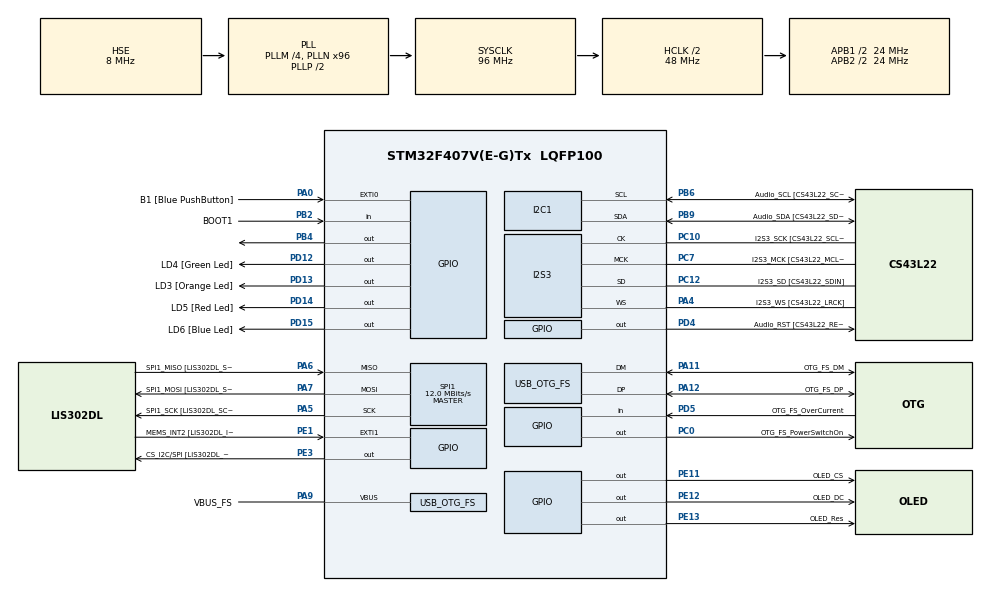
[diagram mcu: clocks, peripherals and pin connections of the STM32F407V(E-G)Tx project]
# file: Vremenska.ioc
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I2S3.AudioFreq=I2S_AUDIOFREQ_48K
I2S3.AudioFreq-Half_Duplex_Master=I2S_AUDIOFREQ_96K
I2S3.ErrorAudioFreq=1.72 %
I2S3.ErrorAudioFreq-Half_Duplex_Master=0.8 %
I2S3.FullDuplexMode=I2S_FULLDUPLEXMODE_DISABLE
I2S3.Instance=SPI$Index
I2S3.RealAudioFreq=48.828 KHz
I2S3.RealAudioFreq-Half_Duplex_Master=96.774 KHz
I2S3.VirtualMode=I2S_MODE_MASTER
Mcu.Family=STM32F4
Mcu.Name=STM32F407V(E-G)Tx
Mcu.Package=LQFP100
NVIC.OTG_FS_IRQn=true\:0\:0\:false\:false\:true\:true\:true\:true
NVIC.PriorityGroup=NVIC_PRIORITYGROUP_0
PA0-WKUP.GPIO_Label=B1 [Blue PushButton]
PA0-WKUP.GPIO_ModeDefaultEXTI=GPIO_MODE_EVT_RISING
PA0-WKUP.GPIO_PuPd=GPIO_NOPULL
PA0-WKUP.Signal=GPXTI0
PA10.GPIO_Label=OTG_FS_ID
PA10.GPIO_Mode=GPIO_MODE_AF_PP
PA10.GPIO_PuPd=GPIO_NOPULL
PA10.GPIO_Speed=GPIO_SPEED_FREQ_LOW
PA10.Signal=USB_OTG_FS_ID
PA11.GPIO_Label=OTG_FS_DM
PA11.GPIO_Mode=GPIO_MODE_AF_PP
PA11.GPIO_PuPd=GPIO_NOPULL
PA11.GPIO_Speed=GPIO_SPEED_FREQ_LOW
PA11.Mode=Device_Only
PA11.Signal=USB_OTG_FS_DM
PA12.GPIO_Label=OTG_FS_DP
PA12.GPIO_Mode=GPIO_MODE_AF_PP
PA12.GPIO_PuPd=GPIO_NOPULL
PA12.GPIO_Speed=GPIO_SPEED_FREQ_LOW
PA12.Mode=Device_Only
PA12.Signal=USB_OTG_FS_DP
PA13.GPIO_Label=SWDIO
PA13.Mode=Serial_Wire
PA13.Signal=SYS_JTMS-SWDIO
PA14.GPIO_Label=SWCLK
PA14.Mode=Serial_Wire
PA14.Signal=SYS_JTCK-SWCLK
PA4.GPIO_Label=I2S3_WS [CS43L22_LRCK]
PA4.GPIO_Mode=GPIO_MODE_AF_PP
PA4.GPIO_PuPd=GPIO_NOPULL
PA4.GPIO_Speed=GPIO_SPEED_FREQ_LOW
PA4.Mode=Half_Duplex_Master
PA4.Signal=I2S3_WS
PA5.GPIO_Label=SPI1_SCK [LIS302DL_SCL/SPC]
PA5.GPIO_Mode=GPIO_MODE_AF_PP
PA5.GPIO_PuPd=GPIO_NOPULL
PA5.GPIO_Speed=GPIO_SPEED_FREQ_LOW
PA5.Mode=Full_Duplex_Master
PA5.Signal=SPI1_SCK
PA6.GPIO_Label=SPI1_MISO [LIS302DL_SDO]
PA6.GPIO_Mode=GPIO_MODE_AF_PP
PA6.GPIO_PuPd=GPIO_NOPULL
PA6.GPIO_Speed=GPIO_SPEED_FREQ_LOW
PA6.Mode=Full_Duplex_Master
PA6.Signal=SPI1_MISO
PA7.GPIO_Label=SPI1_MOSI [LIS302DL_SDA/SDI/SDO]
PA7.GPIO_Mode=GPIO_MODE_AF_PP
PA7.GPIO_PuPd=GPIO_NOPULL
PA7.GPIO_Speed=GPIO_SPEED_FREQ_LOW
PA7.Mode=Full_Duplex_Master
PA7.Signal=SPI1_MOSI
PA9.GPIO_Label=VBUS_FS
PA9.GPIO_Mode=GPIO_MODE_INPUT
PA9.GPIO_PuPd=GPIO_NOPULL
PA9.Mode=Activate_VBUS
PA9.Signal=USB_OTG_FS_VBUS
PB10.GPIO_Label=CLK_IN [MP45DT02_CLK]
PB10.GPIO_Mode=GPIO_MODE_AF_PP
PB10.GPIO_PuPd=GPIO_NOPULL
PB10.GPIO_Speed=GPIO_SPEED_FREQ_LOW
PB10.Signal=I2S2_CK
PB2.GPIO_Label=BOOT1
PB2.GPIO_Mode=GPIO_MODE_INPUT
PB2.GPIO_PuPd=GPIO_NOPULL
PB2.Signal=GPIO_Input
PB3.GPIO_Label=SWO
PB3.Signal=SYS_JTDO-SWO
PB4.Signal=GPIO_Output
PB6.GPIO_Label=Audio_SCL [CS43L22_SCL]
PB6.GPIO_Mode=GPIO_MODE_AF_OD
PB6.GPIO_Pu=GPIO_PULLUP
PB6.GPIO_PuPd=GPIO_NOPULL
PB6.GPIO_Speed=GPIO_SPEED_FREQ_LOW
PB6.Mode=I2C
PB6.Signal=I2C1_SCL
PB9.GPIO_Label=Audio_SDA [CS43L22_SDA]
PB9.GPIO_Mode=GPIO_MODE_AF_OD
PB9.GPIO_Pu=GPIO_PULLUP
PB9.GPIO_PuPd=GPIO_NOPULL
PB9.GPIO_Speed=GPIO_SPEED_FREQ_LOW
PB9.Mode=I2C
PB9.Signal=I2C1_SDA
PC0.GPIO_Label=OTG_FS_PowerSwitchOn
PC0.GPIO_PuPd=GPIO_NOPULL
PC0.GPIO_Speed=GPIO_SPEED_FREQ_LOW
PC0.PinState=GPIO_PIN_SET
PC0.Signal=GPIO_Output
PC10.GPIO_Label=I2S3_SCK [CS43L22_SCLK]
PC10.GPIO_Mode=GPIO_MODE_AF_PP
PC10.GPIO_PuPd=GPIO_NOPULL
PC10.GPIO_Speed=GPIO_SPEED_FREQ_LOW
PC10.Mode=Half_Duplex_Master
PC10.Signal=I2S3_CK
PC12.GPIO_Label=I2S3_SD [CS43L22_SDIN]
PC12.GPIO_Mode=GPIO_MODE_AF_PP
PC12.GPIO_PuPd=GPIO_NOPULL
PC12.GPIO_Speed=GPIO_SPEED_FREQ_LOW
PC12.Mode=Half_Duplex_Master
PC12.Signal=I2S3_SD
PC14-OSC32_IN.GPIO_Label=PC14-OSC32_IN
PC14-OSC32_IN.Signal=RCC_OSC32_IN
PC15-OSC32_OUT.GPIO_Label=PC15-OSC32_OUT
PC15-OSC32_OUT.Signal=RCC_OSC32_OUT
PC3.GPIO_Label=PDM_OUT [MP45DT02_DOUT]
PC3.GPIO_Mode=GPIO_MODE_AF_PP
PC3.GPIO_PuPd=GPIO_NOPULL
PC3.GPIO_Speed=GPIO_SPEED_FREQ_LOW
PC3.Signal=I2S2_SD
PC7.GPIO_Label=I2S3_MCK [CS43L22_MCLK]
PC7.GPIO_Mode=GPIO_MODE_AF_PP
PC7.GPIO_PuPd=GPIO_NOPULL
PC7.GPIO_Speed=GPIO_SPEED_FREQ_LOW
PC7.Mode=Master_Clock_Activated
PC7.Signal=I2S3_MCK
PD12.GPIO_Label=LD4 [Green Led]
PD12.GPIO_PuPd=GPIO_NOPULL
PD12.GPIO_Speed=GPIO_SPEED_FREQ_LOW
PD12.Signal=GPIO_Output
PD13.GPIO_Label=LD3 [Orange Led]
PD13.GPIO_PuPd=GPIO_NOPULL
PD13.GPIO_Speed=GPIO_SPEED_FREQ_LOW
PD13.Signal=GPIO_Output
PD14.GPIO_Label=LD5 [Red Led]
PD14.GPIO_PuPd=GPIO_NOPULL
PD14.GPIO_Speed=GPIO_SPEED_FREQ_LOW
PD14.Signal=GPIO_Output
PD15.GPIO_Label=LD6 [Blue Led]
PD15.GPIO_PuPd=GPIO_NOPULL
PD15.GPIO_Speed=GPIO_SPEED_FREQ_LOW
PD15.Signal=GPIO_Output
PD4.GPIO_Label=Audio_RST [CS43L22_RESET]
PD4.GPIO_PuPd=GPIO_NOPULL
PD4.GPIO_Speed=GPIO_SPEED_FREQ_LOW
PD4.Signal=GPIO_Output
PD5.GPIO_Label=OTG_FS_OverCurrent
PD5.GPIO_Mode=GPIO_MODE_INPUT
PD5.GPIO_PuPd=GPIO_NOPULL
PD5.Signal=GPIO_Input
PE1.GPIO_Label=MEMS_INT2 [LIS302DL_INT2]
PE1.GPIO_ModeDefaultEXTI=GPIO_MODE_EVT_RISING
PE1.GPIO_PuPd=GPIO_NOPULL
PE1.Signal=GPXTI1
PE11.GPIO_Label=OLED_CS
PE11.GPIO_Speed=GPIO_SPEED_FREQ_VERY_HIGH
PE11.Signal=GPIO_Output
PE12.GPIO_Label=OLED_DC
PE12.GPIO_Speed=GPIO_SPEED_FREQ_VERY_HIGH
PE12.Signal=GPIO_Output
PE13.GPIO_Label=OLED_Res
PE13.GPIO_Speed=GPIO_SPEED_FREQ_VERY_HIGH
PE13.Signal=GPIO_Output
PE3.GPIO_Label=CS_I2C/SPI [LIS302DL_CS_I2C/SPI]
PE3.GPIO_PuPd=GPIO_NOPULL
PE3.GPIO_Speed=GPIO_SPEED_FREQ_LOW
PE3.Signal=GPIO_Output
PH0-OSC_IN.GPIO_Label=PH0-OSC_IN
PH0-OSC_IN.Mode=HSE-External-Oscillator
PH0-OSC_IN.Signal=RCC_OSC_IN
PH1-OSC_OUT.GPIO_Label=PH1-OSC_OUT
PH1-OSC_OUT.Mode=HSE-External-Oscillator
PH1-OSC_OUT.Signal=RCC_OSC_OUT
ProjectManager.HeapSize=0x200
ProjectManager.StackSize=0x400
ProjectManager.TargetToolchain=STM32CubeIDE
RCC.48MHZClocksFreq_Value=48000000
RCC.AHBCLKDivider=RCC_SYSCLK_DIV2
RCC.AHBFreq_Value=48000000
RCC.APB1CLKDivider=RCC_HCLK_DIV2
RCC.APB1Freq_Value=24000000
RCC.APB1TimFreq_Value=48000000
RCC.APB2CLKDivider=RCC_HCLK_DIV2
RCC.APB2Freq_Value=24000000
RCC.APB2TimFreq_Value=48000000
RCC.CortexFreq_Value=48000000
RCC.HCLKFreq_Value=48000000
RCC.HSE_VALUE=8000000
RCC.HSI_VALUE=16000000
RCC.LSE_VALUE=32768
RCC.PLLI2SN=50
RCC.PLLM=4
RCC.PLLN=96
RCC.SYSCLKFreq_VALUE=96000000
RCC.SYSCLKSource=RCC_SYSCLKSOURCE_PLLCLK
RCC.VCOOutputFreq_Value=192000000
SPI1.BaudRatePrescaler=SPI_BAUDRATEPRESCALER_2
SPI1.BaudRatePrescaler-Full_Duplex_Master=SPI_BAUDRATEPRESCALER_2
SPI1.CalculateBaudRate=12.0 MBits/s
SPI1.CalculateBaudRate-Full_Duplex_Master=42.0 MBits/s
SPI1.Direction=SPI_DIRECTION_2LINES
SPI1.Mode=SPI_MODE_MASTER
SPI1.Mode-Full_Duplex_Master=SPI_MODE_MASTER
SPI1.VirtualType=VM_MASTER
TIM6.AutoReloadPreload=TIM_AUTORELOAD_PRELOAD_DISABLE
TIM6.Period=0xffff-1
TIM6.Prescaler=48-1
USB_DEVICE.CLASS_NAME_FS=CDC
USB_DEVICE.VirtualMode-CDC_FS=Cdc
USB_DEVICE.VirtualModeFS=Cdc_FS
USB_OTG_FS.VirtualMode=Device_Only
VP_TIM6_VS_ClockSourceINT.Mode=Enable_Timer
VP_USB_DEVICE_VS_USB_DEVICE_CDC_FS.Mode=CDC_FS
board=STM32F407G-DISC1

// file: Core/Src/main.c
/* USER CODE BEGIN Header */
/**
  ******************************************************************************
  * @file           : main.c
  * @brief          : Main program body
  ******************************************************************************
  * @attention
  *
  * Copyright (c) 2023 STMicroelectronics.
  * All rights reserved.
  *
  * This software is licensed under terms that can be found in the LICENSE file
  * in the root directory of this software component.
  * If no LICENSE file comes with this software, it is provided AS-IS.
  *
  ******************************************************************************
  */
/* USER CODE END Header */
#include "main.h"
#include "usb_device.h"
#include "ssd1306_fonts.h"

I2C_HandleTypeDef hi2c1;

I2S_HandleTypeDef hi2s3;

SPI_HandleTypeDef hspi1;

TIM_HandleTypeDef htim6;

/* USER CODE BEGIN PV */

#define BUFSIZE 256
char SendBuffer[BUFSIZE];
int Counter;
int KeyState=0;

/* USER CODE END PV */

void SystemClock_Config(void);
static void MX_GPIO_Init(void);
static void MX_I2C1_Init(void);
static void MX_I2S3_Init(void);
static void MX_SPI1_Init(void);
static void MX_TIM6_Init(void);

/* USER CODE BEGIN 0 */

void delay (uint16_t time)
{
	__HAL_TIM_SET_COUNTER(&htim6, 0);
	while ((__HAL_TIM_GET_COUNTER(&htim6))<time);
}

uint8_t Rh_byte1, Rh_byte2, Temp_byte1, Temp_byte2;
uint16_t SUM, RH, TEMP;

float Temperature = 0;
float Humidity = 0;
uint8_t Presence = 0;

void Set_Pin_Output (GPIO_TypeDef *GPIOx, uint16_t GPIO_Pin)
{
	GPIO_InitTypeDef GPIO_InitStruct = {0};
	GPIO_InitStruct.Pin = GPIO_Pin;
	GPIO_InitStruct.Mode = GPIO_MODE_OUTPUT_PP;
	GPIO_InitStruct.Speed = GPIO_SPEED_FREQ_LOW;
	HAL_GPIO_Init(GPIOx, &GPIO_InitStruct);
}

void Set_Pin_Input (GPIO_TypeDef *GPIOx, uint16_t GPIO_Pin)
{
	GPIO_InitTypeDef GPIO_InitStruct = {0};
	GPIO_InitStruct.Pin = GPIO_Pin;
	GPIO_InitStruct.Mode = GPIO_MODE_INPUT;
	GPIO_InitStruct.Pull = GPIO_PULLUP;
	HAL_GPIO_Init(GPIOx, &GPIO_InitStruct);
}

//--------------------------------DHT11-----------------------

#define DHT11_PORT GPIOB //pampti deka e port B
#define DHT11_PIN GPIO_PIN_4 //pamti deka e pin 4

#define SSD1306_COLOR_WHITE 1
#define SSD1306_COLOR_BLACK 0

void DHT11_Start (void)
{
	Set_Pin_Output (DHT11_PORT, DHT11_PIN);
	HAL_GPIO_WritePin (DHT11_PORT, DHT11_PIN, 0);
	delay (18000);
    HAL_GPIO_WritePin (DHT11_PORT, DHT11_PIN, 1);
	delay (20);
	Set_Pin_Input(DHT11_PORT, DHT11_PIN);
}

uint8_t DHT11_Check_Response (void)
{
	uint8_t Response = 0;
	delay (40);
	if (!(HAL_GPIO_ReadPin (DHT11_PORT, DHT11_PIN)))
	{
		delay (80);
		if ((HAL_GPIO_ReadPin (DHT11_PORT, DHT11_PIN)))
			Response = 1;
		else
			Response = -1;
	}
	while ((HAL_GPIO_ReadPin (DHT11_PORT, DHT11_PIN)));

	return Response;
}

uint8_t DHT11_Read (void)
{
    uint8_t data = 0;
    for (uint8_t i = 0; i < 8; i++)
    {
        while (!(HAL_GPIO_ReadPin(DHT11_PORT, DHT11_PIN)));
        delay(40);
        if (HAL_GPIO_ReadPin(DHT11_PORT, DHT11_PIN))
        {
            data |= (1 << (7 - i));
        }
        while (HAL_GPIO_ReadPin(DHT11_PORT, DHT11_PIN));
    }
    return data;
}

/* USER CODE END 0 */

int main(void)
{

  /* MCU Configuration--------------------------------------------------------*/

  /* Reset of all peripherals, Initializes the Flash interface and the Systick. */
  HAL_Init();

  /* Configure the system clock */
  SystemClock_Config();

  /* Initialize all configured peripherals */
  MX_GPIO_Init();
  MX_I2C1_Init();
  MX_I2S3_Init();
  MX_SPI1_Init();
  MX_TIM6_Init();
  MX_USB_DEVICE_Init();
  /* USER CODE BEGIN 2 */

  HAL_TIM_Base_Start(&htim6);

  /* USER CODE END 2 */

  /* Infinite loop */
  /* USER CODE BEGIN WHILE */

  while (1)
  {

	  DHT11_Start();
	  Presence = DHT11_Check_Response();

	 	  if(Presence==1){
	 		  Rh_byte1 = DHT11_Read ();
	 		  Rh_byte2 = DHT11_Read ();
	 		  Temp_byte1 = DHT11_Read ();
	 		  Temp_byte2 = DHT11_Read ();
	 		  SUM = DHT11_Read();

	 		  TEMP = Temp_byte1;
	 		  RH = Rh_byte1;

	 		  Temperature = (float)TEMP + ((float)Temp_byte2 / 10.0);
	 		  Humidity = (float)RH + ((float)Rh_byte2 / 10.0);

	 		  ssd1306_Init();

	 		  char humidity[10];
	 		  sprintf(humidity, "RH:   %.1f", Humidity);

	 		  char temp[15];
	 		  sprintf(temp, "Temp: %.1f", Temperature);

	 		  char naslov[20];
	 		  sprintf(naslov, "Vremenska Postaja");

	 		  ssd1306_SetCursor(0,0);
	 		  ssd1306_WriteString(naslov, Font_7x10, SSD1306_COLOR_WHITE);

	 		  ssd1306_SetCursor(0,18);
	 		  ssd1306_WriteString(temp, Font_11x18, SSD1306_COLOR_WHITE);

			  ssd1306_SetCursor(0, 45);
			  ssd1306_WriteString(humidity, Font_11x18, SSD1306_COLOR_WHITE);

		      ssd1306_UpdateScreen();

	 	  }else{
	 		 char problem[20];
	 		 sprintf(problem, "ERROR");
	 		 ssd1306_WriteString(problem, Font_11x18, SSD1306_COLOR_WHITE);
	 	  }

	 	  HAL_Delay(20000);
  }
  /* USER CODE END 3 */
}

void SystemClock_Config(void)
{
  RCC_OscInitTypeDef RCC_OscInitStruct = {0};
  RCC_ClkInitTypeDef RCC_ClkInitStruct = {0};

  /** Configure the main internal regulator output voltage
  */
  __HAL_RCC_PWR_CLK_ENABLE();
  __HAL_PWR_VOLTAGESCALING_CONFIG(PWR_REGULATOR_VOLTAGE_SCALE1);

  /** Initializes the RCC Oscillators according to the specified parameters
  * in the RCC_OscInitTypeDef structure.
  */
  RCC_OscInitStruct.OscillatorType = RCC_OSCILLATORTYPE_HSE;
  RCC_OscInitStruct.HSEState = RCC_HSE_ON;
  RCC_OscInitStruct.PLL.PLLState = RCC_PLL_ON;
  RCC_OscInitStruct.PLL.PLLSource = RCC_PLLSOURCE_HSE;
  RCC_OscInitStruct.PLL.PLLM = 4;
  RCC_OscInitStruct.PLL.PLLN = 96;
  RCC_OscInitStruct.PLL.PLLP = RCC_PLLP_DIV2;
  RCC_OscInitStruct.PLL.PLLQ = 4;
  if (HAL_RCC_OscConfig(&RCC_OscInitStruct) != HAL_OK)
  {
    Error_Handler();
  }

  /** Initializes the CPU, AHB and APB buses clocks
  */
  RCC_ClkInitStruct.ClockType = RCC_CLOCKTYPE_HCLK|RCC_CLOCKTYPE_SYSCLK
                              |RCC_CLOCKTYPE_PCLK1|RCC_CLOCKTYPE_PCLK2;
  RCC_ClkInitStruct.SYSCLKSource = RCC_SYSCLKSOURCE_PLLCLK;
  RCC_ClkInitStruct.AHBCLKDivider = RCC_SYSCLK_DIV2;
  RCC_ClkInitStruct.APB1CLKDivider = RCC_HCLK_DIV2;
  RCC_ClkInitStruct.APB2CLKDivider = RCC_HCLK_DIV2;

  if (HAL_RCC_ClockConfig(&RCC_ClkInitStruct, FLASH_LATENCY_1) != HAL_OK)
  {
    Error_Handler();
  }
}

static void MX_I2C1_Init(void)
{

  hi2c1.Instance = I2C1;
  hi2c1.Init.ClockSpeed = 100000;
  hi2c1.Init.DutyCycle = I2C_DUTYCYCLE_2;
  hi2c1.Init.OwnAddress1 = 0;
  hi2c1.Init.AddressingMode = I2C_ADDRESSINGMODE_7BIT;
  hi2c1.Init.DualAddressMode = I2C_DUALADDRESS_DISABLE;
  hi2c1.Init.OwnAddress2 = 0;
  hi2c1.Init.GeneralCallMode = I2C_GENERALCALL_DISABLE;
  hi2c1.Init.NoStretchMode = I2C_NOSTRETCH_DISABLE;
  if (HAL_I2C_Init(&hi2c1) != HAL_OK)
  {
    Error_Handler();
  }

}

static void MX_I2S3_Init(void)
{

  hi2s3.Instance = SPI3;
  hi2s3.Init.Mode = I2S_MODE_MASTER_TX;
  hi2s3.Init.Standard = I2S_STANDARD_PHILIPS;
  hi2s3.Init.DataFormat = I2S_DATAFORMAT_16B;
  hi2s3.Init.MCLKOutput = I2S_MCLKOUTPUT_ENABLE;
  hi2s3.Init.AudioFreq = I2S_AUDIOFREQ_48K;
  hi2s3.Init.CPOL = I2S_CPOL_LOW;
  hi2s3.Init.ClockSource = I2S_CLOCK_PLL;
  hi2s3.Init.FullDuplexMode = I2S_FULLDUPLEXMODE_DISABLE;
  if (HAL_I2S_Init(&hi2s3) != HAL_OK)
  {
    Error_Handler();
  }

}

static void MX_SPI1_Init(void)
{

  /* SPI1 parameter configuration*/
  hspi1.Instance = SPI1;
  hspi1.Init.Mode = SPI_MODE_MASTER;
  hspi1.Init.Direction = SPI_DIRECTION_2LINES;
  hspi1.Init.DataSize = SPI_DATASIZE_8BIT;
  hspi1.Init.CLKPolarity = SPI_POLARITY_LOW;
  hspi1.Init.CLKPhase = SPI_PHASE_1EDGE;
  hspi1.Init.NSS = SPI_NSS_SOFT;
  hspi1.Init.BaudRatePrescaler = SPI_BAUDRATEPRESCALER_2;
  hspi1.Init.FirstBit = SPI_FIRSTBIT_MSB;
  hspi1.Init.TIMode = SPI_TIMODE_DISABLE;
  hspi1.Init.CRCCalculation = SPI_CRCCALCULATION_DISABLE;
  hspi1.Init.CRCPolynomial = 10;
  if (HAL_SPI_Init(&hspi1) != HAL_OK)
  {
    Error_Handler();
  }

}

static void MX_TIM6_Init(void)
{

  TIM_MasterConfigTypeDef sMasterConfig = {0};

  htim6.Instance = TIM6;
  htim6.Init.Prescaler = 48-1;
  htim6.Init.CounterMode = TIM_COUNTERMODE_UP;
  htim6.Init.Period = 0xffff-1;
  htim6.Init.AutoReloadPreload = TIM_AUTORELOAD_PRELOAD_DISABLE;
  if (HAL_TIM_Base_Init(&htim6) != HAL_OK)
  {
    Error_Handler();
  }
  sMasterConfig.MasterOutputTrigger = TIM_TRGO_RESET;
  sMasterConfig.MasterSlaveMode = TIM_MASTERSLAVEMODE_DISABLE;
  if (HAL_TIMEx_MasterConfigSynchronization(&htim6, &sMasterConfig) != HAL_OK)
  {
    Error_Handler();
  }

}

static void MX_GPIO_Init(void)
{
  GPIO_InitTypeDef GPIO_InitStruct = {0};

  /* GPIO Ports Clock Enable */
  __HAL_RCC_GPIOE_CLK_ENABLE();
  __HAL_RCC_GPIOC_CLK_ENABLE();
  __HAL_RCC_GPIOH_CLK_ENABLE();
  __HAL_RCC_GPIOA_CLK_ENABLE();
  __HAL_RCC_GPIOB_CLK_ENABLE();
  __HAL_RCC_GPIOD_CLK_ENABLE();

  /*Configure GPIO pin Output Level */
  HAL_GPIO_WritePin(GPIOE, CS_I2C_SPI_Pin|OLED_CS_Pin|OLED_DC_Pin|OLED_Res_Pin, GPIO_PIN_RESET);

  /*Configure GPIO pin Output Level */
  HAL_GPIO_WritePin(OTG_FS_PowerSwitchOn_GPIO_Port, OTG_FS_PowerSwitchOn_Pin, GPIO_PIN_SET);

  /*Configure GPIO pin Output Level */
  HAL_GPIO_WritePin(GPIOD, LD4_Pin|LD3_Pin|LD5_Pin|LD6_Pin
                          |Audio_RST_Pin, GPIO_PIN_RESET);

  /*Configure GPIO pin Output Level */
  HAL_GPIO_WritePin(GPIOB, GPIO_PIN_4, GPIO_PIN_RESET);

  /*Configure GPIO pin : CS_I2C_SPI_Pin */
  GPIO_InitStruct.Pin = CS_I2C_SPI_Pin;
  GPIO_InitStruct.Mode = GPIO_MODE_OUTPUT_PP;
  GPIO_InitStruct.Pull = GPIO_NOPULL;
  GPIO_InitStruct.Speed = GPIO_SPEED_FREQ_LOW;
  HAL_GPIO_Init(CS_I2C_SPI_GPIO_Port, &GPIO_InitStruct);

  /*Configure GPIO pin : OTG_FS_PowerSwitchOn_Pin */
  GPIO_InitStruct.Pin = OTG_FS_PowerSwitchOn_Pin;
  GPIO_InitStruct.Mode = GPIO_MODE_OUTPUT_PP;
  GPIO_InitStruct.Pull = GPIO_NOPULL;
  GPIO_InitStruct.Speed = GPIO_SPEED_FREQ_LOW;
  HAL_GPIO_Init(OTG_FS_PowerSwitchOn_GPIO_Port, &GPIO_InitStruct);

  /*Configure GPIO pin : PDM_OUT_Pin */
  GPIO_InitStruct.Pin = PDM_OUT_Pin;
  GPIO_InitStruct.Mode = GPIO_MODE_AF_PP;
  GPIO_InitStruct.Pull = GPIO_NOPULL;
  GPIO_InitStruct.Speed = GPIO_SPEED_FREQ_LOW;
  GPIO_InitStruct.Alternate = GPIO_AF5_SPI2;
  HAL_GPIO_Init(PDM_OUT_GPIO_Port, &GPIO_InitStruct);

  /*Configure GPIO pin : B1_Pin */
  GPIO_InitStruct.Pin = B1_Pin;
  GPIO_InitStruct.Mode = GPIO_MODE_EVT_RISING;
  GPIO_InitStruct.Pull = GPIO_NOPULL;
  HAL_GPIO_Init(B1_GPIO_Port, &GPIO_InitStruct);

  /*Configure GPIO pin : BOOT1_Pin */
  GPIO_InitStruct.Pin = BOOT1_Pin;
  GPIO_InitStruct.Mode = GPIO_MODE_INPUT;
  GPIO_InitStruct.Pull = GPIO_NOPULL;
  HAL_GPIO_Init(BOOT1_GPIO_Port, &GPIO_InitStruct);

  /*Configure GPIO pins : OLED_CS_Pin OLED_DC_Pin OLED_Res_Pin */
  GPIO_InitStruct.Pin = OLED_CS_Pin|OLED_DC_Pin|OLED_Res_Pin;
  GPIO_InitStruct.Mode = GPIO_MODE_OUTPUT_PP;
  GPIO_InitStruct.Pull = GPIO_NOPULL;
  GPIO_InitStruct.Speed = GPIO_SPEED_FREQ_VERY_HIGH;
  HAL_GPIO_Init(GPIOE, &GPIO_InitStruct);

  /*Configure GPIO pin : CLK_IN_Pin */
  GPIO_InitStruct.Pin = CLK_IN_Pin;
  GPIO_InitStruct.Mode = GPIO_MODE_AF_PP;
  GPIO_InitStruct.Pull = GPIO_NOPULL;
  GPIO_InitStruct.Speed = GPIO_SPEED_FREQ_LOW;
  GPIO_InitStruct.Alternate = GPIO_AF5_SPI2;
  HAL_GPIO_Init(CLK_IN_GPIO_Port, &GPIO_InitStruct);

  /*Configure GPIO pins : LD4_Pin LD3_Pin LD5_Pin LD6_Pin
                           Audio_RST_Pin */
  GPIO_InitStruct.Pin = LD4_Pin|LD3_Pin|LD5_Pin|LD6_Pin
                          |Audio_RST_Pin;
  GPIO_InitStruct.Mode = GPIO_MODE_OUTPUT_PP;
  GPIO_InitStruct.Pull = GPIO_NOPULL;
  GPIO_InitStruct.Speed = GPIO_SPEED_FREQ_LOW;
  HAL_GPIO_Init(GPIOD, &GPIO_InitStruct);

  /*Configure GPIO pin : OTG_FS_OverCurrent_Pin */
  GPIO_InitStruct.Pin = OTG_FS_OverCurrent_Pin;
  GPIO_InitStruct.Mode = GPIO_MODE_INPUT;
  GPIO_InitStruct.Pull = GPIO_NOPULL;
  HAL_GPIO_Init(OTG_FS_OverCurrent_GPIO_Port, &GPIO_InitStruct);

  /*Configure GPIO pin : PB4 */
  GPIO_InitStruct.Pin = GPIO_PIN_4;
  GPIO_InitStruct.Mode = GPIO_MODE_OUTPUT_PP;
  GPIO_InitStruct.Pull = GPIO_NOPULL;
  GPIO_InitStruct.Speed = GPIO_SPEED_FREQ_LOW;
  HAL_GPIO_Init(GPIOB, &GPIO_InitStruct);

  /*Configure GPIO pin : MEMS_INT2_Pin */
  GPIO_InitStruct.Pin = MEMS_INT2_Pin;
  GPIO_InitStruct.Mode = GPIO_MODE_EVT_RISING;
  GPIO_InitStruct.Pull = GPIO_NOPULL;
  HAL_GPIO_Init(MEMS_INT2_GPIO_Port, &GPIO_InitStruct);

}

void Error_Handler(void)
{
  __disable_irq();
  while (1)
  {
  }
}
